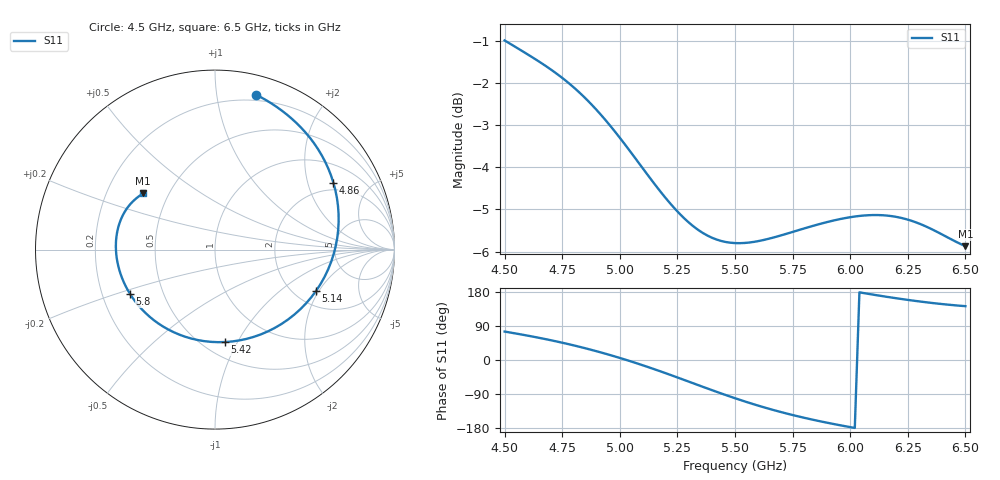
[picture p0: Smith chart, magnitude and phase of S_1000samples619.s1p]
! TOUCHSTONE file generated by CST MICROWAVE STUDIO
! Date and time: Fri Oct 28 19:15:35 2022
! Project name: L.cst
! Parameters = {Di=1.27; Epsilon_r=1.56; InnerDiameter=1.27; Length=2; Lf=10; Lg=60; OuterConductorThickness=0.2921; OuterDiameter=3.6; Wf=3; Wp=41.2; de=1.5; df=6.8; g=0.8; gx=4.24471; gy=1.71549; h=2.34; hf=1.524; px=13.8125; py=8.74756; w=9.7; wx=9.56777; wy=7.03207}
! Header version: 2018
! Port assignment regex: !\s*Touchstone port\s*([0-9]+)\s*=\s*(CST MWS port|CST DS port)\s*([0-9]+|Zmin|Zmax)\s*\(\"(.*)\"\)(\s*mode\s*([0-9]+))?.*
! Touchstone port assignment:
! Touchstone port 1 = CST MWS port 1 ("")
# GHz S DB R 50
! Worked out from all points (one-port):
!   101 points, 4.5 GHz to 6.5 GHz, reference 50 ohm
!   lowest |S11| = -5.9 dB at 6.5 GHz (marker M1), VSWR 3.07, Z = 18 + j15.2 ohm
!   |S11| at or under -10 dB: nowhere
!   S11 on the Smith chart (normalised r, x): 4.5 GHz: 0.15, +1.29; 4.86 GHz: 1.68, +2.93; 5.14 GHz: 2.58, -1.89; 5.42 GHz: 0.63, -0.89; 5.8 GHz: 0.32, -0.22; 6.5 GHz: 0.36, +0.30
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4.5  -0.99 75.0
4.58  -1.25 66.5
4.64  -1.46 59.6
4.7  -1.68 52.3
4.76  -1.92 44.3
4.82  -2.20 35.6
4.86  -2.41 29.4
4.94  -2.89 16.2
5  -3.30 5.4
5.06  -3.73 -6.0
5.14  -4.32 -22.3
5.2  -4.74 -35.1
5.26  -5.10 -48.3
5.3  -5.31 -57.2
5.34  -5.48 -66.2
5.42  -5.71 -83.9
5.5  -5.80 -100.8
5.56  -5.79 -112.7
5.64  -5.70 -127.4
5.7  -5.61 -137.4
5.76  -5.52 -146.7
5.8  -5.45 -152.4
5.9  -5.30 -165.5
6  -5.18 -177.1
6.12  -5.13 170.5
6.26  -5.26 157.8
6.38  -5.54 148.8
6.5  -5.87 142.1
